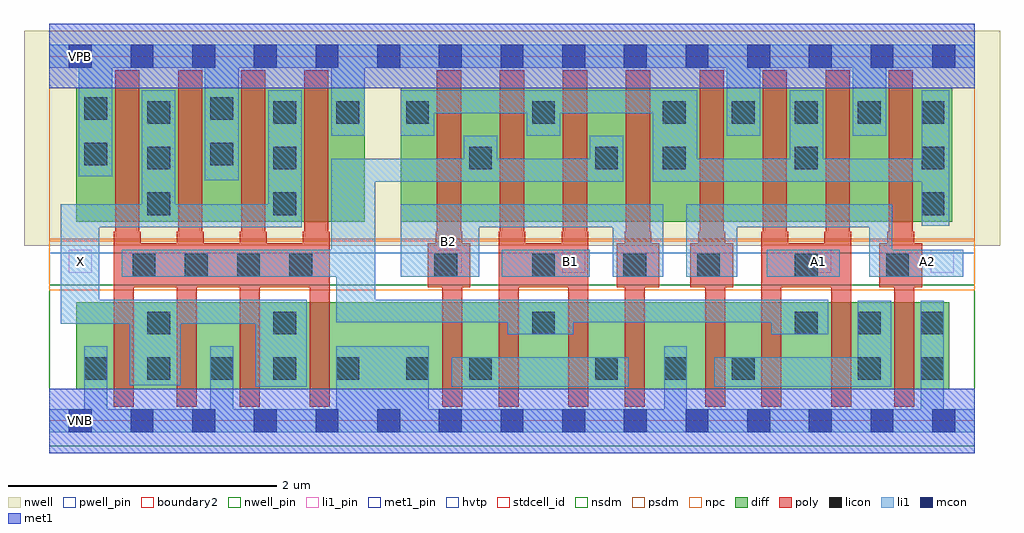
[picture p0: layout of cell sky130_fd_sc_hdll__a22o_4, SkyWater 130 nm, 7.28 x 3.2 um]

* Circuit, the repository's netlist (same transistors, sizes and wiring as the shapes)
* Copyright 2020 The SkyWater PDK Authors
*
* Licensed under the Apache License, Version 2.0 (the "License");
* you may not use this file except in compliance with the License.
* You may obtain a copy of the License at
*
*     https://www.apache.org/licenses/LICENSE-2.0
*
* Unless required by applicable law or agreed to in writing, software
* distributed under the License is distributed on an "AS IS" BASIS,
* WITHOUT WARRANTIES OR CONDITIONS OF ANY KIND, either express or implied.
* See the License for the specific language governing permissions and
* limitations under the License.
*
* SPDX-License-Identifier: Apache-2.0

.SUBCKT sky130_fd_sc_hdll__a22o_4 A1 A2 B1 B2 VGND VNB VPB VPWR X
*.PININFO A1:I A2:I B1:I B2:I VGND:I VNB:I VPB:I VPWR:I X:O
MMPA0 pndA A1 VPWR VPB sky130_fd_pr__pfet_01v8_hvt m=2 w=1.0U l=0.18U mult=1 sa=0.265
+ sb=0.265 sd=0.28 area=0.063 perim=1.14
MMPA1 pndA A2 VPWR VPB sky130_fd_pr__pfet_01v8_hvt m=2 w=1.0U l=0.18U mult=1 sa=0.265
+ sb=0.265 sd=0.28 area=0.063 perim=1.14
MMPB0 y B1 pndA VPB sky130_fd_pr__pfet_01v8_hvt m=2 w=1.0U l=0.18U mult=1 sa=0.265
+ sb=0.265 sd=0.28 area=0.063 perim=1.14
MMPB1 y B2 pndA VPB sky130_fd_pr__pfet_01v8_hvt m=2 w=1.0U l=0.18U mult=1 sa=0.265
+ sb=0.265 sd=0.28 area=0.063 perim=1.14
MMIPX X y VPWR VPB sky130_fd_pr__pfet_01v8_hvt m=4 w=1.0U l=0.18U mult=1 sa=0.265
+ sb=0.265 sd=0.28 area=0.063 perim=1.14
MMNA0 y A1 sndA1 VNB sky130_fd_pr__nfet_01v8 m=2 w=0.65U l=0.15U mult=1 sa=0.265
+ sb=0.265 sd=0.28 area=0.063 perim=1.14
MMNA1 sndA1 A2 VGND VNB sky130_fd_pr__nfet_01v8 m=2 w=0.65U l=0.15U mult=1 sa=0.265
+ sb=0.265 sd=0.28 area=0.063 perim=1.14
MMNB0 y B1 sndB1 VNB sky130_fd_pr__nfet_01v8 m=2 w=0.65U l=0.15U mult=1 sa=0.265
+ sb=0.265 sd=0.28 area=0.063 perim=1.14
MMNB1 sndB1 B2 VGND VNB sky130_fd_pr__nfet_01v8 m=2 w=0.65U l=0.15U mult=1 sa=0.265
+ sb=0.265 sd=0.28 area=0.063 perim=1.14
MMINX X y VGND VNB sky130_fd_pr__nfet_01v8 m=4 w=0.65U l=0.15U mult=1 sa=0.265
+ sb=0.265 sd=0.28 area=0.063 perim=1.14
.ENDS sky130_fd_sc_hdll__a22o_4

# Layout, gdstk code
import gdstk
lib = gdstk.Library(unit=1e-6, precision=1e-09)
def R(c, l, rs):  # rectangles x0, y0, x1, y1
    for r in rs: c.add(gdstk.rectangle(r[:2], r[2:], *l))
def A(c, l, x, y, w, h, nx, ny, dx, dy):  # array of equal rectangles
    R(c, l, [(x+i*dx, y+j*dy, x+i*dx+w, y+j*dy+h) for i in range(nx) for j in range(ny)])
def P(c, l, *ps):  # polygons
    for p in ps: c.add(gdstk.Polygon(p, *l))
nwell_pin = (64, 16)
nwell = (64, 20)
diff = (65, 20)
poly = (66, 20)
licon = (66, 44)
li1_pin = (67, 16)
li1 = (67, 20)
mcon = (67, 44)
met1_pin = (68, 16)
met1 = (68, 20)
hvtp = (78, 44)
stdcell_id = (81, 4)
nsdm = (93, 44)
psdm = (94, 20)
npc = (95, 20)
pwell_pin = (122, 16)
boundary2 = (236, 0)

sky130_fd_sc_hdll__a22o_ = lib.new_cell('sky130_fd_sc_hdll__a22o_4')
R(sky130_fd_sc_hdll__a22o_, nwell_pin, [(0.145,2.635,0.315,2.805)])
R(sky130_fd_sc_hdll__a22o_, nwell, [(-0.19,1.305,7.09,2.91)])
R(sky130_fd_sc_hdll__a22o_, diff, [(0.2,0.235,6.71,0.885), (0.2,1.485,2.35,2.485), (2.62,1.485,6.735,2.485)])
P(sky130_fd_sc_hdll__a22o_, poly, [(2.09,1.41),(2.08,1.41),(2.08,2.615),(1.9,2.615),(1.9,1.41),(1.89,1.41),(1.89,1.325),(1.62,1.325),(1.62,1.41),(1.61,1.41),(1.61,2.615),(1.43,2.615),(1.43,1.41),(1.42,1.41),(1.42,1.325),(1.15,1.325),(1.15,1.41),(1.14,1.41),(1.14,2.615),(0.96,2.615),(0.96,1.41),(0.95,1.41),(0.95,1.325),(0.68,1.325),(0.68,1.41),(0.67,1.41),(0.67,2.615),(0.49,2.615),(0.49,1.41),(0.48,1.41),(0.48,0.105),(0.63,0.105),(0.63,0.995),(0.95,0.995),(0.95,0.105),(1.1,0.105),(1.1,0.995),(1.42,0.995),(1.42,0.105),(1.57,0.105),(1.57,0.995),(1.94,0.995),(1.94,0.105),(2.09,0.105)],
  [(3.14,1.325),(3.08,1.325),(3.08,1.41),(3.07,1.41),(3.07,2.615),(2.89,2.615),(2.89,1.41),(2.88,1.41),(2.88,1.325),(2.82,1.325),(2.82,0.995),(2.93,0.995),(2.93,0.105),(3.08,0.105),(3.08,0.995),(3.14,0.995)],
  [(4.02,1.41),(4.01,1.41),(4.01,2.615),(3.83,2.615),(3.83,1.41),(3.82,1.41),(3.82,1.325),(3.55,1.325),(3.55,1.41),(3.54,1.41),(3.54,2.615),(3.36,2.615),(3.36,1.41),(3.35,1.41),(3.35,0.105),(3.5,0.105),(3.5,0.995),(3.87,0.995),(3.87,0.105),(4.02,0.105)],
  [(4.55,1.325),(4.49,1.325),(4.49,1.41),(4.48,1.41),(4.48,2.615),(4.3,2.615),(4.3,1.41),(4.29,1.41),(4.29,1.325),(4.23,1.325),(4.23,0.995),(4.29,0.995),(4.29,0.105),(4.44,0.105),(4.44,0.995),(4.55,0.995)],
  [(5.1,1.325),(5.04,1.325),(5.04,1.41),(5.03,1.41),(5.03,2.615),(4.85,2.615),(4.85,1.41),(4.84,1.41),(4.84,1.325),(4.78,1.325),(4.78,0.995),(4.89,0.995),(4.89,0.105),(5.04,0.105),(5.04,0.995),(5.1,0.995)],
  [(5.98,1.41),(5.97,1.41),(5.97,2.615),(5.79,2.615),(5.79,1.41),(5.78,1.41),(5.78,1.325),(5.51,1.325),(5.51,1.41),(5.5,1.41),(5.5,2.615),(5.32,2.615),(5.32,1.41),(5.31,1.41),(5.31,0.105),(5.46,0.105),(5.46,0.995),(5.83,0.995),(5.83,0.105),(5.98,0.105)],
  [(6.51,1.325),(6.45,1.325),(6.45,1.41),(6.44,1.41),(6.44,2.615),(6.26,2.615),(6.26,1.41),(6.25,1.41),(6.25,1.325),(6.19,1.325),(6.19,0.995),(6.3,0.995),(6.3,0.105),(6.45,0.105),(6.45,0.995),(6.51,0.995)])
A(sky130_fd_sc_hdll__a22o_, licon, 0.26, 0.305, 0.17, 0.17, 5, 1, 0.47, 0)
A(sky130_fd_sc_hdll__a22o_, licon, 5.56, 0.645, 0.17, 0.17, 3, 1, 0.47, 0)
A(sky130_fd_sc_hdll__a22o_, licon, 0.62, 1.075, 0.17, 0.17, 4, 1, 0.39, 0)
A(sky130_fd_sc_hdll__a22o_, licon, 0.73, 1.535, 0.17, 0.17, 1, 3, 0, 0.34)
A(sky130_fd_sc_hdll__a22o_, licon, 1.67, 1.535, 0.17, 0.17, 1, 3, 0, 0.34)
A(sky130_fd_sc_hdll__a22o_, licon, 6.505, 1.535, 0.17, 0.17, 1, 3, 0, 0.34)
A(sky130_fd_sc_hdll__a22o_, licon, 5.09, 2.215, 0.17, 0.17, 3, 1, 0.47, 0)
R(sky130_fd_sc_hdll__a22o_, licon, [(2.66,0.305,2.83,0.475), (3.13,0.305,3.3,0.475), (4.07,0.305,4.24,0.475), (4.585,0.305,4.755,0.475), (5.09,0.305,5.26,0.475), (6.03,0.305,6.2,0.475), (6.5,0.305,6.67,0.475), (0.73,0.645,0.9,0.815), (1.67,0.645,1.84,0.815), (3.6,0.645,3.77,0.815), (2.87,1.075,3.04,1.245), (3.6,1.075,3.77,1.245), (4.28,1.075,4.45,1.245), (4.83,1.075,5,1.245), (5.56,1.075,5.73,1.245), (6.24,1.075,6.41,1.245), (3.13,1.875,3.3,2.045), (4.07,1.875,4.24,2.045), (4.575,1.875,4.745,2.045), (5.56,1.875,5.73,2.045), (0.26,1.905,0.43,2.075), (1.2,1.905,1.37,2.075), (2.14,2.215,2.31,2.385), (2.66,2.215,2.83,2.385), (3.6,2.215,3.77,2.385), (4.575,2.215,4.745,2.385), (0.26,2.245,0.43,2.415), (1.2,2.245,1.37,2.415)])
R(sky130_fd_sc_hdll__a22o_, li1_pin, [(0.145,1.105,0.315,1.275), (2.905,1.105,3.075,1.275), (3.825,1.105,3.995,1.275), (5.66,1.105,5.83,1.275), (6.575,1.105,6.745,1.275)])
R(sky130_fd_sc_hdll__a22o_, li1, [(3,0.255,4.32,0.475), (3.375,1.075,4.03,1.275), (5.35,1.075,5.895,1.275)])
P(sky130_fd_sc_hdll__a22o_, li1, [(6.9,0.085),(6.67,0.085),(6.67,0.895),(6.5,0.895),(6.5,0.085),(4.755,0.085),(4.755,0.555),(4.585,0.555),(4.585,0.085),(2.83,0.085),(2.83,0.555),(2.14,0.555),(2.14,0.085),(1.37,0.085),(1.37,0.555),(1.2,0.555),(1.2,0.085),(0.43,0.085),(0.43,0.555),(0.26,0.555),(0.26,0.085),(0,0.085),(0,-0.085),(6.9,-0.085)],
  [(6.9,2.805),(0,2.805),(0,2.635),(0.22,2.635),(0.22,1.825),(0.47,1.825),(0.47,2.635),(1.16,2.635),(1.16,1.795),(1.41,1.795),(1.41,2.635),(2.1,2.635),(2.1,2.125),(2.35,2.125),(2.35,2.635),(5.05,2.635),(5.05,2.125),(5.3,2.125),(5.3,2.635),(5.99,2.635),(5.99,2.125),(6.24,2.125),(6.24,2.635),(6.9,2.635)],
  [(1.92,0.905),(0.37,0.905),(0.37,1.445),(1.88,1.445),(1.88,2.465),(1.63,2.465),(1.63,1.615),(0.94,1.615),(0.94,2.465),(0.69,2.465),(0.69,1.615),(0.085,1.615),(0.085,0.725),(0.6,0.725),(0.6,0.265),(0.98,0.265),(0.98,0.725),(1.54,0.725),(1.54,0.255),(1.92,0.255)],
  [(4.58,1.615),(2.62,1.615),(2.62,1.075),(3.205,1.075),(3.205,1.445),(4.2,1.445),(4.2,1.075),(4.58,1.075)],
  [(5.81,0.905),(2.43,0.905),(2.43,1.785),(4.28,1.785),(4.28,2.125),(4.03,2.125),(4.03,1.955),(3.34,1.955),(3.34,2.125),(3.09,2.125),(3.09,1.955),(2.1,1.955),(2.1,1.275),(0.54,1.275),(0.54,1.075),(2.14,1.075),(2.14,0.735),(3.42,0.735),(3.42,0.645),(3.905,0.645),(3.905,0.735),(5.385,0.735),(5.385,0.645),(5.81,0.645)],
  [(6.28,0.895),(6.03,0.895),(6.03,0.475),(4.96,0.475),(4.96,0.255),(6.28,0.255)],
  [(6.71,2.465),(6.505,2.465),(6.505,1.955),(5.77,1.955),(5.77,2.465),(5.52,2.465),(5.52,1.955),(4.83,1.955),(4.83,2.465),(2.62,2.465),(2.62,2.125),(2.87,2.125),(2.87,2.295),(3.56,2.295),(3.56,2.125),(3.81,2.125),(3.81,2.295),(4.5,2.295),(4.5,1.785),(6.505,1.785),(6.505,1.455),(6.71,1.455)],
  [(6.815,1.275),(6.285,1.275),(6.285,1.615),(4.75,1.615),(4.75,1.075),(5.13,1.075),(5.13,1.445),(6.115,1.445),(6.115,1.075),(6.815,1.075)])
A(sky130_fd_sc_hdll__a22o_, mcon, 0.145, -0.085, 0.17, 0.17, 15, 2, 0.46, 2.72)
R(sky130_fd_sc_hdll__a22o_, met1_pin, [(0.145,-0.085,0.315,0.085), (0.145,2.635,0.315,2.805)])
R(sky130_fd_sc_hdll__a22o_, met1, [(0,-0.24,6.9,0.24), (0,2.48,6.9,2.96)])
R(sky130_fd_sc_hdll__a22o_, hvtp, [(0,1.25,6.9,2.72)])
R(sky130_fd_sc_hdll__a22o_, stdcell_id, [(0,0,6.9,2.72)])
R(sky130_fd_sc_hdll__a22o_, nsdm, [(0,-0.19,6.9,1.015)])
R(sky130_fd_sc_hdll__a22o_, psdm, [(0,1.355,6.9,2.91)])
R(sky130_fd_sc_hdll__a22o_, npc, [(0,0.975,6.9,1.345)])
R(sky130_fd_sc_hdll__a22o_, pwell_pin, [(0.145,-0.085,0.315,0.085)])
R(sky130_fd_sc_hdll__a22o_, boundary2, [(0,0,6.9,2.72)])
sky130_fd_sc_hdll__a22o_.add(gdstk.Label('B1', (3.885,1.19), layer=67, texttype=5))
sky130_fd_sc_hdll__a22o_.add(gdstk.Label('B2', (2.98,1.335), layer=67, texttype=5))
sky130_fd_sc_hdll__a22o_.add(gdstk.Label('X', (0.23,1.19), layer=67, texttype=5))
sky130_fd_sc_hdll__a22o_.add(gdstk.Label('A2', (6.55,1.19), layer=67, texttype=5))
sky130_fd_sc_hdll__a22o_.add(gdstk.Label('A1', (5.735,1.19), layer=67, texttype=5))
sky130_fd_sc_hdll__a22o_.add(gdstk.Label('VNB', (0.23,0), layer=64, texttype=59))
sky130_fd_sc_hdll__a22o_.add(gdstk.Label('VPB', (0.23,2.72), layer=64, texttype=5))
sky130_fd_sc_hdll__a22o_.add(gdstk.Label('VGND', (0.23,0), layer=68, texttype=5))
sky130_fd_sc_hdll__a22o_.add(gdstk.Label('VPWR', (0.23,2.72), layer=68, texttype=5))

lib.write_gds('sky130_fd_sc_hdll__a22o_4.gds')
